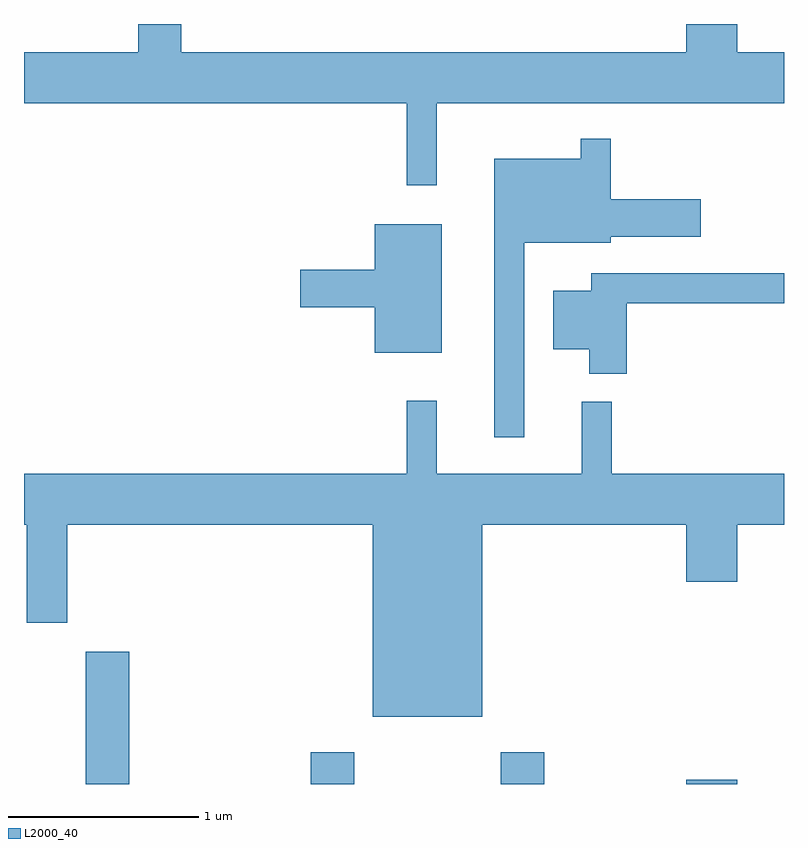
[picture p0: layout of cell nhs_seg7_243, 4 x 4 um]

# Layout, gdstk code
import gdstk
lib = gdstk.Library(unit=1e-6, precision=1e-09)
def R(c, l, rs):  # rectangles x0, y0, x1, y1
    for r in rs: c.add(gdstk.rectangle(r[:2], r[2:], *l))
def P(c, l, *ps):  # polygons
    for p in ps: c.add(gdstk.Polygon(p, *l))
L2000_40 = (2000, 40)

nhs_seg7_243 = lib.new_cell('nhs_seg7_243')
R(nhs_seg7_243, L2000_40, [(191.936,1746.252,192.164,1746.949), (193.121,1746.252,193.349,1746.419), (194.121,1746.252,194.349,1746.419), (195.096,1746.252,195.364,1746.274)])
P(nhs_seg7_243, L2000_40, [(193.784,1749.836),(195.611,1749.836),(195.611,1750.104),(195.364,1750.104),(195.364,1750.252),(195.096,1750.252),(195.096,1750.104),(192.439,1750.104),(192.439,1750.252),(192.211,1750.252),(192.211,1750.104),(191.611,1750.104),(191.611,1749.836),(193.626,1749.836),(193.626,1749.403),(193.784,1749.403)],
  [(194.244,1749.101),(194.699,1749.101),(194.699,1749.131),(195.174,1749.131),(195.174,1749.329),(194.699,1749.329),(194.699,1749.648),(194.541,1749.648),(194.541,1749.544),(194.086,1749.544),(194.086,1748.078),(194.244,1748.078)],
  [(193.809,1749.199),(193.456,1749.199),(193.456,1748.959),(193.066,1748.959),(193.066,1748.761),(193.456,1748.761),(193.456,1748.521),(193.809,1748.521)],
  [(194.784,1748.781),(195.611,1748.781),(195.611,1748.939),(194.596,1748.939),(194.596,1748.849),(194.396,1748.849),(194.396,1748.541),(194.586,1748.541),(194.586,1748.411),(194.784,1748.411)],
  [(194.024,1747.616),(195.096,1747.616),(195.096,1747.316),(195.364,1747.316),(195.364,1747.616),(195.611,1747.616),(195.611,1747.884),(194.704,1747.884),(194.704,1748.263),(194.546,1748.263),(194.546,1747.884),(193.784,1747.884),(193.784,1748.268),(193.626,1748.268),(193.626,1747.884),(191.611,1747.884),(191.611,1747.616),(191.626,1747.616),(191.626,1747.101),(191.839,1747.101),(191.839,1747.616),(193.446,1747.616),(193.446,1746.606),(194.024,1746.606)])

lib.write_gds('nhs_seg7_243.gds')
